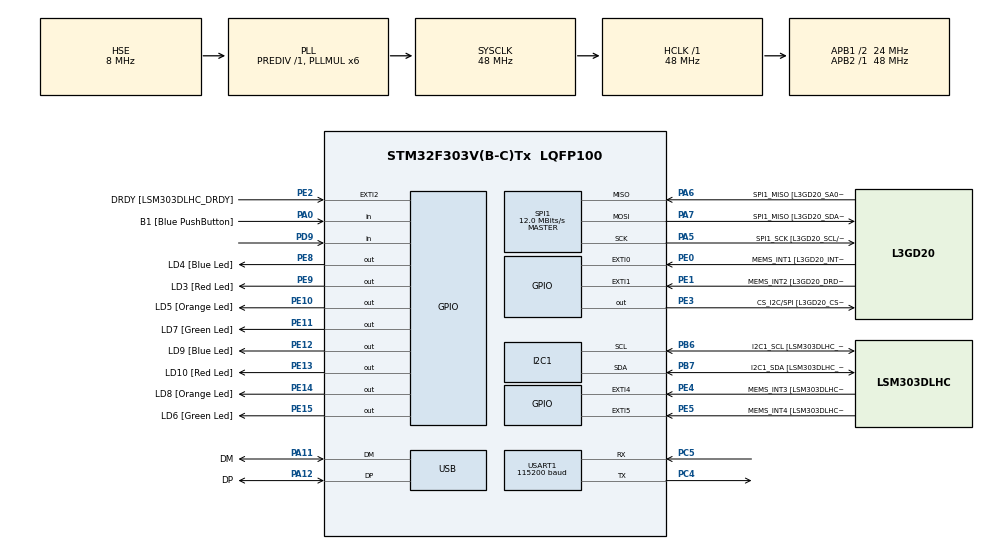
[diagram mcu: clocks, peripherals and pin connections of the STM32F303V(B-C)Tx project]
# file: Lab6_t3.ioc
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I2C1.Timing=0x2000090E
I2C1.Timing-I2C=0x2000090E
Mcu.Family=STM32F3
Mcu.Name=STM32F303V(B-C)Tx
Mcu.Package=LQFP100
NVIC.PriorityGroup=NVIC_PRIORITYGROUP_0
PA0.GPIO_Label=B1 [Blue PushButton]
PA0.Signal=GPIO_Input
PA11.GPIO_Label=DM
PA11.Mode=Device
PA11.Signal=USB_DM
PA12.GPIO_Label=DP
PA12.Mode=Device
PA12.Signal=USB_DP
PA13.GPIO_Label=SWDIO
PA13.Mode=Serial_Wire
PA13.Signal=SYS_JTMS-SWDIO
PA14.GPIO_Label=SWCLK
PA14.Mode=Serial_Wire
PA14.Signal=SYS_JTCK-SWCLK
PA5.GPIO_Label=SPI1_SCK [L3GD20_SCL/SPC]
PA5.Mode=Full_Duplex_Master
PA5.Signal=SPI1_SCK
PA6.GPIO_Label=SPI1_MISO [L3GD20_SA0/SDO]
PA6.Mode=Full_Duplex_Master
PA6.Signal=SPI1_MISO
PA7.GPIO_Label=SPI1_MISO [L3GD20_SDA/SDI/SDO]
PA7.Mode=Full_Duplex_Master
PA7.Signal=SPI1_MOSI
PB3.GPIO_Label=SWO
PB3.Signal=SYS_JTDO-TRACESWO
PB6.GPIO_Label=I2C1_SCL [LSM303DLHC_SCL]
PB6.GPIO_Pu=GPIO_PULLUP
PB6.Mode=I2C
PB6.Signal=I2C1_SCL
PB7.GPIO_Label=I2C1_SDA [LSM303DLHC_SDA]
PB7.GPIO_Pu=GPIO_PULLUP
PB7.Mode=I2C
PB7.Signal=I2C1_SDA
PC14-OSC32_IN.GPIO_Label=OSC32_IN
PC14-OSC32_IN.Signal=RCC_OSC32_IN
PC15-OSC32_OUT.GPIO_Label=OSC32_OUT
PC15-OSC32_OUT.Signal=RCC_OSC32_OUT
PC4.Mode=Asynchronous
PC4.Signal=USART1_TX
PC5.Mode=Asynchronous
PC5.Signal=USART1_RX
PD9.Signal=GPIO_Input
PE0.GPIO_Label=MEMS_INT1 [L3GD20_INT1]
PE0.GPIO_ModeDefaultEXTI=GPIO_MODE_EVT_RISING
PE0.Signal=GPXTI0
PE1.GPIO_Label=MEMS_INT2 [L3GD20_DRDY/INT2]
PE1.GPIO_ModeDefaultEXTI=GPIO_MODE_EVT_RISING
PE1.Signal=GPXTI1
PE10.GPIO_Label=LD5 [Orange Led]
PE10.Signal=GPIO_Output
PE11.GPIO_Label=LD7 [Green Led]
PE11.Signal=GPIO_Output
PE12.GPIO_Label=LD9 [Blue Led]
PE12.Signal=GPIO_Output
PE13.GPIO_Label=LD10 [Red Led]
PE13.Signal=GPIO_Output
PE14.GPIO_Label=LD8 [Orange Led]
PE14.Signal=GPIO_Output
PE15.GPIO_Label=LD6 [Green Led]
PE15.Signal=GPIO_Output
PE2.GPIO_Label=DRDY [LSM303DLHC_DRDY]
PE2.GPIO_ModeDefaultEXTI=GPIO_MODE_EVT_RISING
PE2.Signal=GPXTI2
PE3.GPIO_Label=CS_I2C/SPI [L3GD20_CS_I2C/SPI]
PE3.Signal=GPIO_Output
PE4.GPIO_Label=MEMS_INT3 [LSM303DLHC_INT1]
PE4.GPIO_ModeDefaultEXTI=GPIO_MODE_EVT_RISING
PE4.Signal=GPXTI4
PE5.GPIO_Label=MEMS_INT4 [LSM303DLHC_INT2]
PE5.GPIO_ModeDefaultEXTI=GPIO_MODE_EVT_RISING
PE5.Signal=GPXTI5
PE8.GPIO_Label=LD4 [Blue Led]
PE8.Signal=GPIO_Output
PE9.GPIO_Label=LD3 [Red Led]
PE9.Signal=GPIO_Output
PF0-OSC_IN.GPIO_Label=OSC_IN
PF0-OSC_IN.Mode=HSE-External-Clock-Source
PF0-OSC_IN.Signal=RCC_OSC_IN
PF1-OSC_OUT.GPIO_Label=OSC_OUT
PF1-OSC_OUT.Signal=RCC_OSC_OUT
ProjectManager.HeapSize=0x200
ProjectManager.StackSize=0x400
ProjectManager.TargetToolchain=CMake
RCC.AHBFreq_Value=48000000
RCC.APB1CLKDivider=RCC_HCLK_DIV2
RCC.APB1Freq_Value=24000000
RCC.APB1TimFreq_Value=48000000
RCC.APB2Freq_Value=48000000
RCC.APB2TimFreq_Value=48000000
RCC.CortexFreq_Value=48000000
RCC.HCLKFreq_Value=48000000
RCC.HSE_VALUE=8000000
RCC.HSI_VALUE=8000000
RCC.LSE_VALUE=32768
RCC.PLLMUL=RCC_PLL_MUL6
RCC.SYSCLKFreq_VALUE=48000000
RCC.SYSCLKSourceVirtual=RCC_SYSCLKSOURCE_PLLCLK
RCC.USBFreq_Value=48000000
SPI1.BaudRatePrescaler=SPI_BAUDRATEPRESCALER_4
SPI1.BaudRatePrescaler-Full_Duplex_Master=SPI_BAUDRATEPRESCALER_2
SPI1.CalculateBaudRate=12.0 MBits/s
SPI1.CalculateBaudRate-Full_Duplex_Master=24.0 MBits/s
SPI1.Direction=SPI_DIRECTION_2LINES
SPI1.Mode=SPI_MODE_MASTER
SPI1.Mode-Full_Duplex_Master=SPI_MODE_MASTER
SPI1.VirtualType=VM_MASTER
TIM2.Prescaler=47
USART1.BaudRate=115200
USART1.VirtualMode-Asynchronous=VM_ASYNC
VP_TIM2_VS_ClockSourceINT.Mode=Internal
board=STM32F3DISCOVERY

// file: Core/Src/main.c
/* USER CODE BEGIN Header */
/**
  ******************************************************************************
  * @file           : main.c
  * @brief          : Main program body
  ******************************************************************************
  * @attention
  *
  * Copyright (c) 2026 STMicroelectronics.
  * All rights reserved.
  *
  * This software is licensed under terms that can be found in the LICENSE file
  * in the root directory of this software component.
  * If no LICENSE file comes with this software, it is provided AS-IS.
  *
  ******************************************************************************
  */
/* USER CODE END Header */
#include "main.h"
#include "stm32f303xc.h"

/* USER CODE BEGIN Includes */
#include <string.h>
#include <stdio.h>
#include <stdarg.h>
#include <unistd.h>
/* USER CODE END Includes */

I2C_HandleTypeDef hi2c1;

SPI_HandleTypeDef hspi1;

TIM_HandleTypeDef htim2;

UART_HandleTypeDef huart1;

PCD_HandleTypeDef hpcd_USB_FS;

/* USER CODE BEGIN PV */
#define TIMER_HZ 1000000u
// Encoder PPR (pulses per revolution) - SET THIS CORRECTLY
#define PPR 330u // <-- change to your encoder PPR
uint32_t last_print = 0;
/* USER CODE END PV */

void SystemClock_Config(void);
static void MX_GPIO_Init(void);
static void MX_I2C1_Init(void);
static void MX_SPI1_Init(void);
static void MX_USB_PCD_Init(void);
static void MX_TIM2_Init(void);
static void MX_USART1_UART_Init(void);

/* USER CODE BEGIN 0 */

extern UART_HandleTypeDef huart1;

int _write(int file, char *ptr, int len) {
    HAL_UART_Transmit(&huart1, (uint8_t *)ptr, len, HAL_MAX_DELAY);
    return len;
}

// -------- wait for FALLING edge using polling --------
static void wait_falling(GPIO_TypeDef *port, uint16_t pin)
{
// Ensure we start from HIGH (avoid catching the same level)
while (HAL_GPIO_ReadPin(port, pin) == GPIO_PIN_RESET) { }
// Wait HIGH -> LOW
while (HAL_GPIO_ReadPin(port, pin) == GPIO_PIN_SET) { }
}

/* USER CODE END 0 */

int main(void)
{

  /* MCU Configuration--------------------------------------------------------*/

  /* Reset of all peripherals, Initializes the Flash interface and the Systick. */
  HAL_Init();

  /* Configure the system clock */
  SystemClock_Config();

  /* Initialize all configured peripherals */
  MX_GPIO_Init();
  MX_I2C1_Init();
  MX_SPI1_Init();
  MX_USB_PCD_Init();
  MX_TIM2_Init();
  MX_USART1_UART_Init();

  /* Infinite loop */
  while (1)
  {

    /* USER CODE BEGIN 3 */
    //printf("Heartbeat\r\n");
    //HAL_Delay(1000);

    // Wait for first falling edge
    wait_falling(GPIOD, GPIO_PIN_9);

    // First edge: start measurement
    __HAL_TIM_SET_COUNTER(&htim2, 0);
    HAL_TIM_Base_Start(&htim2);

    // Wait for second falling edge
    wait_falling(GPIOD, GPIO_PIN_9);

    // Second edge: stop measurement
    HAL_TIM_Base_Stop(&htim2);

    // Read elapsed time
    uint32_t captured_ticks =
        __HAL_TIM_GET_COUNTER(&htim2);

    if (captured_ticks > 0)
    {
        uint32_t frequency =
            TIMER_HZ / captured_ticks;

        uint32_t rpm =
            (uint32_t)((60ULL * frequency) / PPR);

        if (HAL_GetTick() - last_print >= 200)
        {
            last_print = HAL_GetTick();

            printf("Ticks=%lu, Frequency=%lu Hz, RPM=%lu\r\n",
                   captured_ticks,
                   frequency,
                   rpm);
        }
    }

  }
  /* USER CODE END 3 */
}

void SystemClock_Config(void)
{
  RCC_OscInitTypeDef RCC_OscInitStruct = {0};
  RCC_ClkInitTypeDef RCC_ClkInitStruct = {0};
  RCC_PeriphCLKInitTypeDef PeriphClkInit = {0};

  /** Initializes the RCC Oscillators according to the specified parameters
  * in the RCC_OscInitTypeDef structure.
  */
  RCC_OscInitStruct.OscillatorType = RCC_OSCILLATORTYPE_HSI|RCC_OSCILLATORTYPE_HSE;
  RCC_OscInitStruct.HSEState = RCC_HSE_BYPASS;
  RCC_OscInitStruct.HSEPredivValue = RCC_HSE_PREDIV_DIV1;
  RCC_OscInitStruct.HSIState = RCC_HSI_ON;
  RCC_OscInitStruct.HSICalibrationValue = RCC_HSICALIBRATION_DEFAULT;
  RCC_OscInitStruct.PLL.PLLState = RCC_PLL_ON;
  RCC_OscInitStruct.PLL.PLLSource = RCC_PLLSOURCE_HSE;
  RCC_OscInitStruct.PLL.PLLMUL = RCC_PLL_MUL6;
  if (HAL_RCC_OscConfig(&RCC_OscInitStruct) != HAL_OK)
  {
    Error_Handler();
  }

  /** Initializes the CPU, AHB and APB buses clocks
  */
  RCC_ClkInitStruct.ClockType = RCC_CLOCKTYPE_HCLK|RCC_CLOCKTYPE_SYSCLK
                              |RCC_CLOCKTYPE_PCLK1|RCC_CLOCKTYPE_PCLK2;
  RCC_ClkInitStruct.SYSCLKSource = RCC_SYSCLKSOURCE_PLLCLK;
  RCC_ClkInitStruct.AHBCLKDivider = RCC_SYSCLK_DIV1;
  RCC_ClkInitStruct.APB1CLKDivider = RCC_HCLK_DIV2;
  RCC_ClkInitStruct.APB2CLKDivider = RCC_HCLK_DIV1;

  if (HAL_RCC_ClockConfig(&RCC_ClkInitStruct, FLASH_LATENCY_1) != HAL_OK)
  {
    Error_Handler();
  }
  PeriphClkInit.PeriphClockSelection = RCC_PERIPHCLK_USB|RCC_PERIPHCLK_USART1
                              |RCC_PERIPHCLK_I2C1;
  PeriphClkInit.Usart1ClockSelection = RCC_USART1CLKSOURCE_PCLK2;
  PeriphClkInit.I2c1ClockSelection = RCC_I2C1CLKSOURCE_HSI;
  PeriphClkInit.USBClockSelection = RCC_USBCLKSOURCE_PLL;
  if (HAL_RCCEx_PeriphCLKConfig(&PeriphClkInit) != HAL_OK)
  {
    Error_Handler();
  }
}

static void MX_I2C1_Init(void)
{

  hi2c1.Instance = I2C1;
  hi2c1.Init.Timing = 0x2000090E;
  hi2c1.Init.OwnAddress1 = 0;
  hi2c1.Init.AddressingMode = I2C_ADDRESSINGMODE_7BIT;
  hi2c1.Init.DualAddressMode = I2C_DUALADDRESS_DISABLE;
  hi2c1.Init.OwnAddress2 = 0;
  hi2c1.Init.OwnAddress2Masks = I2C_OA2_NOMASK;
  hi2c1.Init.GeneralCallMode = I2C_GENERALCALL_DISABLE;
  hi2c1.Init.NoStretchMode = I2C_NOSTRETCH_DISABLE;
  if (HAL_I2C_Init(&hi2c1) != HAL_OK)
  {
    Error_Handler();
  }

  /** Configure Analogue filter
  */
  if (HAL_I2CEx_ConfigAnalogFilter(&hi2c1, I2C_ANALOGFILTER_ENABLE) != HAL_OK)
  {
    Error_Handler();
  }

  /** Configure Digital filter
  */
  if (HAL_I2CEx_ConfigDigitalFilter(&hi2c1, 0) != HAL_OK)
  {
    Error_Handler();
  }

}

static void MX_SPI1_Init(void)
{

  /* SPI1 parameter configuration*/
  hspi1.Instance = SPI1;
  hspi1.Init.Mode = SPI_MODE_MASTER;
  hspi1.Init.Direction = SPI_DIRECTION_2LINES;
  hspi1.Init.DataSize = SPI_DATASIZE_4BIT;
  hspi1.Init.CLKPolarity = SPI_POLARITY_LOW;
  hspi1.Init.CLKPhase = SPI_PHASE_1EDGE;
  hspi1.Init.NSS = SPI_NSS_SOFT;
  hspi1.Init.BaudRatePrescaler = SPI_BAUDRATEPRESCALER_4;
  hspi1.Init.FirstBit = SPI_FIRSTBIT_MSB;
  hspi1.Init.TIMode = SPI_TIMODE_DISABLE;
  hspi1.Init.CRCCalculation = SPI_CRCCALCULATION_DISABLE;
  hspi1.Init.CRCPolynomial = 7;
  hspi1.Init.CRCLength = SPI_CRC_LENGTH_DATASIZE;
  hspi1.Init.NSSPMode = SPI_NSS_PULSE_ENABLE;
  if (HAL_SPI_Init(&hspi1) != HAL_OK)
  {
    Error_Handler();
  }

}

static void MX_TIM2_Init(void)
{

  TIM_ClockConfigTypeDef sClockSourceConfig = {0};
  TIM_MasterConfigTypeDef sMasterConfig = {0};

  htim2.Instance = TIM2;
  htim2.Init.Prescaler = 47;
  htim2.Init.CounterMode = TIM_COUNTERMODE_UP;
  htim2.Init.Period = 4294967295;
  htim2.Init.ClockDivision = TIM_CLOCKDIVISION_DIV1;
  htim2.Init.AutoReloadPreload = TIM_AUTORELOAD_PRELOAD_DISABLE;
  if (HAL_TIM_Base_Init(&htim2) != HAL_OK)
  {
    Error_Handler();
  }
  sClockSourceConfig.ClockSource = TIM_CLOCKSOURCE_INTERNAL;
  if (HAL_TIM_ConfigClockSource(&htim2, &sClockSourceConfig) != HAL_OK)
  {
    Error_Handler();
  }
  sMasterConfig.MasterOutputTrigger = TIM_TRGO_RESET;
  sMasterConfig.MasterSlaveMode = TIM_MASTERSLAVEMODE_DISABLE;
  if (HAL_TIMEx_MasterConfigSynchronization(&htim2, &sMasterConfig) != HAL_OK)
  {
    Error_Handler();
  }

}

static void MX_USART1_UART_Init(void)
{

  huart1.Instance = USART1;
  huart1.Init.BaudRate = 115200;
  huart1.Init.WordLength = UART_WORDLENGTH_8B;
  huart1.Init.StopBits = UART_STOPBITS_1;
  huart1.Init.Parity = UART_PARITY_NONE;
  huart1.Init.Mode = UART_MODE_TX_RX;
  huart1.Init.HwFlowCtl = UART_HWCONTROL_NONE;
  huart1.Init.OverSampling = UART_OVERSAMPLING_16;
  huart1.Init.OneBitSampling = UART_ONE_BIT_SAMPLE_DISABLE;
  huart1.AdvancedInit.AdvFeatureInit = UART_ADVFEATURE_NO_INIT;
  if (HAL_UART_Init(&huart1) != HAL_OK)
  {
    Error_Handler();
  }

}

static void MX_USB_PCD_Init(void)
{

  hpcd_USB_FS.Instance = USB;
  hpcd_USB_FS.Init.dev_endpoints = 8;
  hpcd_USB_FS.Init.speed = PCD_SPEED_FULL;
  hpcd_USB_FS.Init.phy_itface = PCD_PHY_EMBEDDED;
  hpcd_USB_FS.Init.low_power_enable = DISABLE;
  hpcd_USB_FS.Init.battery_charging_enable = DISABLE;
  if (HAL_PCD_Init(&hpcd_USB_FS) != HAL_OK)
  {
    Error_Handler();
  }

}

static void MX_GPIO_Init(void)
{
  GPIO_InitTypeDef GPIO_InitStruct = {0};

  /* GPIO Ports Clock Enable */
  __HAL_RCC_GPIOE_CLK_ENABLE();
  __HAL_RCC_GPIOC_CLK_ENABLE();
  __HAL_RCC_GPIOF_CLK_ENABLE();
  __HAL_RCC_GPIOA_CLK_ENABLE();
  __HAL_RCC_GPIOD_CLK_ENABLE();
  __HAL_RCC_GPIOB_CLK_ENABLE();

  /*Configure GPIO pin Output Level */
  HAL_GPIO_WritePin(GPIOE, CS_I2C_SPI_Pin|LD4_Pin|LD3_Pin|LD5_Pin
                          |LD7_Pin|LD9_Pin|LD10_Pin|LD8_Pin
                          |LD6_Pin, GPIO_PIN_RESET);

  /*Configure GPIO pins : DRDY_Pin MEMS_INT3_Pin MEMS_INT4_Pin MEMS_INT1_Pin
                           MEMS_INT2_Pin */
  GPIO_InitStruct.Pin = DRDY_Pin|MEMS_INT3_Pin|MEMS_INT4_Pin|MEMS_INT1_Pin
                          |MEMS_INT2_Pin;
  GPIO_InitStruct.Mode = GPIO_MODE_EVT_RISING;
  GPIO_InitStruct.Pull = GPIO_NOPULL;
  HAL_GPIO_Init(GPIOE, &GPIO_InitStruct);

  /*Configure GPIO pins : CS_I2C_SPI_Pin LD4_Pin LD3_Pin LD5_Pin
                           LD7_Pin LD9_Pin LD10_Pin LD8_Pin
                           LD6_Pin */
  GPIO_InitStruct.Pin = CS_I2C_SPI_Pin|LD4_Pin|LD3_Pin|LD5_Pin
                          |LD7_Pin|LD9_Pin|LD10_Pin|LD8_Pin
                          |LD6_Pin;
  GPIO_InitStruct.Mode = GPIO_MODE_OUTPUT_PP;
  GPIO_InitStruct.Pull = GPIO_NOPULL;
  GPIO_InitStruct.Speed = GPIO_SPEED_FREQ_LOW;
  HAL_GPIO_Init(GPIOE, &GPIO_InitStruct);

  /*Configure GPIO pin : B1_Pin */
  GPIO_InitStruct.Pin = B1_Pin;
  GPIO_InitStruct.Mode = GPIO_MODE_INPUT;
  GPIO_InitStruct.Pull = GPIO_NOPULL;
  HAL_GPIO_Init(B1_GPIO_Port, &GPIO_InitStruct);

  /*Configure GPIO pin : PD9 */
  GPIO_InitStruct.Pin = GPIO_PIN_9;
  GPIO_InitStruct.Mode = GPIO_MODE_INPUT;
  GPIO_InitStruct.Pull = GPIO_NOPULL;
  HAL_GPIO_Init(GPIOD, &GPIO_InitStruct);

}

void Error_Handler(void)
{
  __disable_irq();
  while (1)
  {
  }
}
